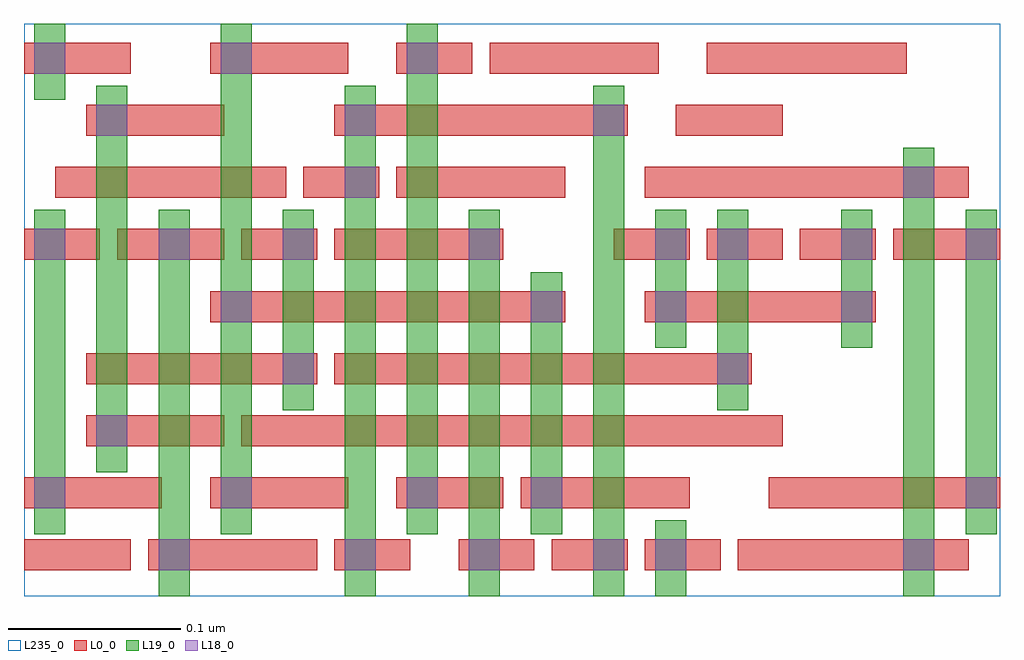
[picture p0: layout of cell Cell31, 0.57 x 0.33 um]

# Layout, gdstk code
import gdstk
lib = gdstk.Library(unit=1e-6, precision=2.5e-10)
def R(c, l, rs):  # rectangles x0, y0, x1, y1
    for r in rs: c.add(gdstk.rectangle(r[:2], r[2:], *l))
def A(c, l, x, y, w, h, nx, ny, dx, dy):  # array of equal rectangles
    R(c, l, [(x+i*dx, y+j*dy, x+i*dx+w, y+j*dy+h) for i in range(nx) for j in range(ny)])
L0_0 = (0, 0)
L18_0 = (18, 0)
L19_0 = (19, 0)
L235_0 = (235, 0)

cell31 = lib.new_cell('Cell31')
A(cell31, L0_0, 0.256, -0.001, 0.044, 0.018, 3, 1, 0.054, 0)
A(cell31, L0_0, 0.346, 0.179, 0.044, 0.018, 3, 1, 0.054, 0)
R(cell31, L0_0, [(0.004,-0.001,0.066,0.017), (0.076,-0.001,0.174,0.017), (0.184,-0.001,0.228,0.017), (0.418,-0.001,0.552,0.017), (0.004,0.035,0.084,0.053), (0.112,0.035,0.192,0.053), (0.22,0.035,0.282,0.053), (0.292,0.035,0.39,0.053), (0.436,0.035,0.57,0.053), (0.04,0.071,0.12,0.089), (0.13,0.071,0.444,0.089), (0.04,0.107,0.174,0.125), (0.184,0.107,0.426,0.125), (0.112,0.143,0.318,0.161), (0.364,0.143,0.498,0.161), (0.004,0.179,0.048,0.197), (0.058,0.179,0.12,0.197), (0.13,0.179,0.174,0.197), (0.184,0.179,0.282,0.197), (0.508,0.179,0.57,0.197), (0.022,0.215,0.156,0.233), (0.166,0.215,0.21,0.233), (0.22,0.215,0.318,0.233), (0.364,0.215,0.552,0.233), (0.04,0.251,0.12,0.269), (0.184,0.251,0.354,0.269), (0.382,0.251,0.444,0.269), (0.004,0.287,0.066,0.305), (0.112,0.287,0.192,0.305), (0.22,0.287,0.264,0.305), (0.274,0.287,0.372,0.305), (0.4,0.287,0.516,0.305)])
A(cell31, L18_0, 0.19, -0.001, 0.018, 0.018, 3, 1, 0.072, 0)
A(cell31, L18_0, 0.01, 0.035, 0.018, 0.018, 3, 2, 0.108, 0.252)
A(cell31, L18_0, 0.01, 0.179, 0.018, 0.018, 3, 1, 0.072, 0)
A(cell31, L18_0, 0.406, 0.179, 0.018, 0.018, 3, 1, 0.072, 0)
A(cell31, L18_0, 0.046, 0.251, 0.018, 0.018, 3, 1, 0.144, 0)
R(cell31, L18_0, [(0.082,-0.001,0.1,0.017), (0.37,-0.001,0.388,0.017), (0.514,-0.001,0.532,0.017), (0.298,0.035,0.316,0.053), (0.55,0.035,0.568,0.053), (0.046,0.071,0.064,0.089), (0.154,0.107,0.172,0.125), (0.406,0.107,0.424,0.125), (0.118,0.143,0.136,0.161), (0.298,0.143,0.316,0.161), (0.37,0.143,0.388,0.161), (0.478,0.143,0.496,0.161), (0.262,0.179,0.28,0.197), (0.37,0.179,0.388,0.197), (0.19,0.215,0.208,0.233), (0.514,0.215,0.532,0.233)])
R(cell31, L19_0, [(0.082,-0.016,0.1,0.208), (0.19,-0.016,0.208,0.28), (0.262,-0.016,0.28,0.208), (0.334,-0.016,0.352,0.28), (0.37,-0.016,0.388,0.028), (0.514,-0.016,0.532,0.244), (0.01,0.02,0.028,0.208), (0.118,0.02,0.136,0.316), (0.226,0.02,0.244,0.316), (0.298,0.02,0.316,0.172), (0.55,0.02,0.568,0.208), (0.046,0.056,0.064,0.28), (0.154,0.092,0.172,0.208), (0.406,0.092,0.424,0.208), (0.37,0.128,0.388,0.208), (0.478,0.128,0.496,0.208), (0.01,0.272,0.028,0.316)])
R(cell31, L235_0, [(0.004,-0.016,0.57,0.316)])

lib.write_gds('Cell31.gds')
